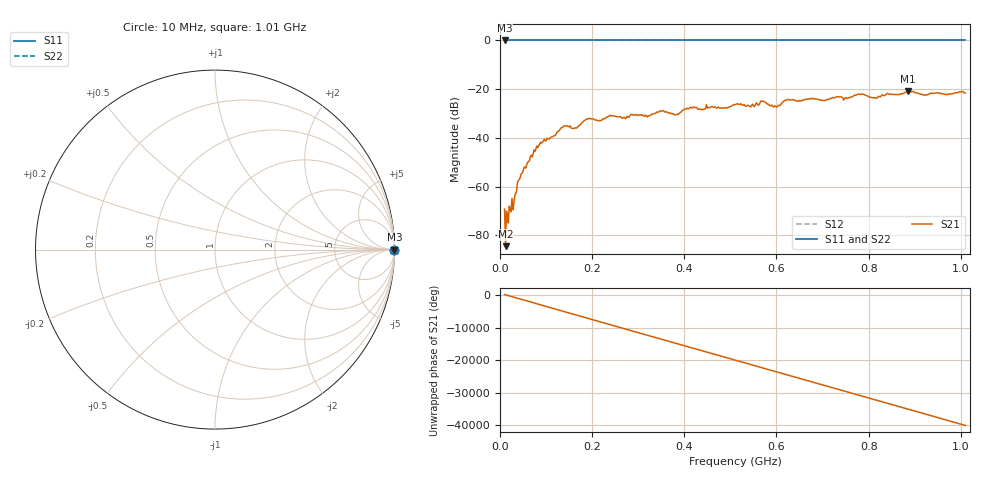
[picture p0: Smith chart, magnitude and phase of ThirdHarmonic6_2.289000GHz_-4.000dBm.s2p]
! 8/17/2025 3:01:23 AM
! C:\ANRITSUVNA\TEMP\TEMP.S2P
! CHANNEL.1
! TR.MEASUREMENT
! RAW.DATA
! RF.CORRECTION.OFF
! AVERAGING.OFF
! IF.BANDWIDTH: 5KHZ
! SWEEPTYPE:  FREQ.SWEEP(Linear)
! Reference Plane Port Info
! PORT:  PORT1  PORT2
! DISTANCE:  0  m  0  m
! TIME:  0  s  0  s
! PHASE.OFFSET:  0  deg.  0  deg.
! LOSS:  0  dB  0  dB
! REF.LOSS:  0  dB  0  dB
! REF.FREQ:  0  Hz  0  Hz
! Power Info
! POWER:  -20  dBm  -20  dBm
! EFF.POWER:  -20  dBm  -20  dBm
! SOURCE.ATTEN:  0  dB  0  dB
! TEST.ATTEN:  0  dB  0  dB
# GHZ S RI R 50.0
! FREQ.GHZ  S11RE  S11IM  S21RE  S21IM  S12RE  S12IM  S22RE  S22IM
!; PortSelection: Port_12
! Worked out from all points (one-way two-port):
!   501 points, 10 MHz to 1.01 GHz, reference 50 ohm
!   highest |S21| = -20.78 dB at 886 MHz (marker M1); lowest = -84.5 dB at 12 MHz (marker M2)
!   lowest |S11| = 0.0 dB at 10 MHz (marker M3)
!   |S11| at or under -10 dB: nowhere
!   |S22| runs from 0.0 to 0.0 dB; largest |S21 - S12| = 1.1
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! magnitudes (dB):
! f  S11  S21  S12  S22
! 10 MHz  0.0  -69.3  0.0  0.0
! 12 MHz  0.0  -84.5  0.0  0.0
! 16 MHz  0.0  -71.5  0.0  0.0
! 26 MHz  0.0  -64.9  0.0  0.0
! 42 MHz  0.0  -57.0  0.0  0.0
! 50 MHz  0.0  -53.8  0.0  0.0
! 84 MHz  0.0  -43.3  0.0  0.0
! 136 MHz  0.0  -35.7  0.0  0.0
! 162 MHz  0.0  -35.9  0.0  0.0
! 178 MHz  0.0  -33.7  0.0  0.0
! 344 MHz  0.0  -29.4  0.0  0.0
! 382 MHz  0.0  -30.5  0.0  0.0
! 416 MHz  0.0  -27.7  0.0  0.0
! 510 MHz  0.0  -26.4  0.0  0.0
! 548 MHz  0.0  -26.2  0.0  0.0
! 570 MHz  0.0  -24.9  0.0  0.0
! 598 MHz  0.0  -27.1  0.0  0.0
! 622 MHz  0.0  -24.5  0.0  0.0
! 678 MHz  0.0  -24.0  0.0  0.0
! 844 MHz  0.0  -22.0  0.0  0.0
! 886 MHz  0.0  -20.8  0.0  0.0
! 1.01 GHz  0.0  -21.6  0.0  0.0
